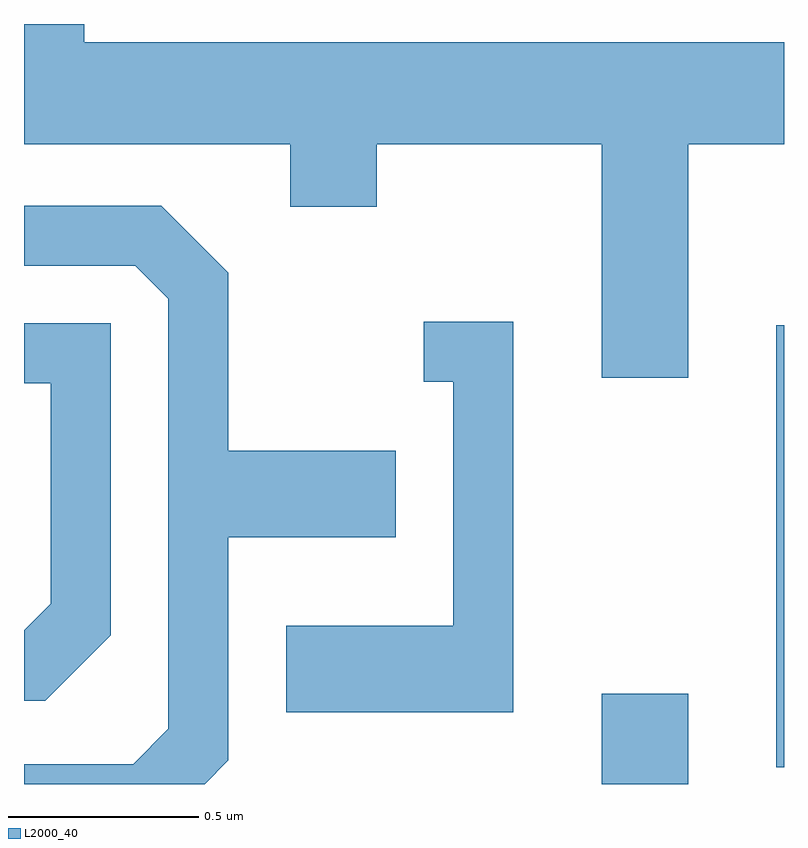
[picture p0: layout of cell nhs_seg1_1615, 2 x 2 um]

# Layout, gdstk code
import gdstk
lib = gdstk.Library(unit=1e-6, precision=1e-09)
def R(c, l, rs):  # rectangles x0, y0, x1, y1
    for r in rs: c.add(gdstk.rectangle(r[:2], r[2:], *l))
def P(c, l, *ps):  # polygons
    for p in ps: c.add(gdstk.Polygon(p, *l))
L2000_40 = (2000, 40)

nhs_seg1_1615 = lib.new_cell('nhs_seg1_1615')
R(nhs_seg1_1615, L2000_40, [(198.131,966.712,198.359,966.949), (198.591,966.756,198.611,967.919)])
P(nhs_seg1_1615, L2000_40, [(198.359,968.396),(198.611,968.396),(198.611,968.664),(196.769,968.664),(196.769,968.712),(196.611,968.712),(196.611,968.396),(197.311,968.396),(197.311,968.231),(197.539,968.231),(197.539,968.396),(198.131,968.396),(198.131,967.781),(198.359,967.781)],
  [(197.149,966.774),(197.149,967.361),(197.589,967.361),(197.589,967.589),(197.149,967.589),(197.149,968.057),(196.972,968.234),(196.611,968.234),(196.611,968.076),(196.904,968.076),(196.991,967.989),(196.991,966.857),(196.899,966.764),(196.611,966.764),(196.611,966.712),(197.087,966.712)],
  [(197.899,967.929),(197.663,967.929),(197.663,967.771),(197.741,967.771),(197.741,967.129),(197.301,967.129),(197.301,966.901),(197.899,966.901)],
  [(196.839,967.104),(196.839,967.924),(196.611,967.924),(196.611,967.766),(196.681,967.766),(196.681,967.187),(196.611,967.116),(196.611,966.931),(196.667,966.931)])

lib.write_gds('nhs_seg1_1615.gds')
